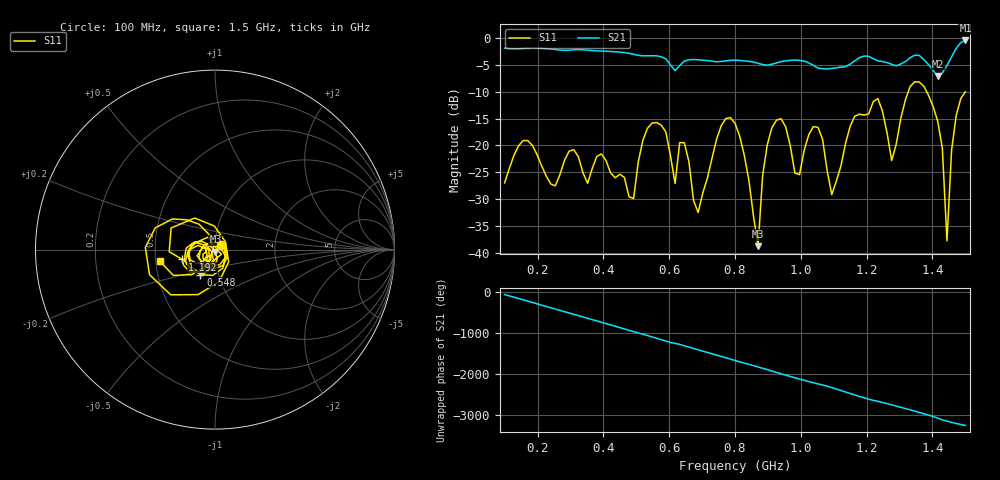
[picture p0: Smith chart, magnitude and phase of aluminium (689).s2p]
! NanoVNA-App
! Date: 2025-09-25 15:00:38
! Start: 100MHz Stop: 1,5GHz Points: 101
! S-Parameter data: F S11 S21 S12 S22
# Hz S RI R 50
!  Frequency  S11_Real  S11_Imag  S21_Real  S21_Imag  S12_Real  S12_Imag  S22_Real  S22_Imag
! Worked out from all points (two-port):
!   101 points, 100 MHz to 1.5 GHz, reference 50 ohm
!   highest |S21| = -0.49 dB at 1.5 GHz (marker M1); lowest = -7.1 dB at 1.416 GHz (marker M2)
!   |S21| within 3 dB of the highest: start of sweep to 572.9 MHz; 1.458 GHz to end of sweep (the widest 2 of 4)
!   lowest |S11| = -38.7 dB at 870 MHz (marker M3), VSWR 1.02, Z = 50.2 - j1.14 ohm
!   |S11| at or under -10 dB: start of sweep to 1.326 GHz; 1.382 GHz to end of sweep
!   S12 and S22 are empty: the file has one direction only
!   S11 on the Smith chart (normalised r, x): 100 MHz: 1.07, +0.06; 548 MHz: 0.82, -0.23; 1.192 GHz: 0.69, -0.08; 1.5 GHz: 0.52, -0.07
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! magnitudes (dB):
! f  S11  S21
! 100 MHz  -27.0  -1.9
! 156 MHz  -19.1  -2.0
! 338 MHz  -25.0  -2.2
! 492 MHz  -29.8  -3.1
! 548 MHz  -15.8  -3.3
! 576 MHz  -16.2  -3.5
! 646 MHz  -19.5  -4.3
! 688 MHz  -32.4  -4.1
! 800 MHz  -15.9  -4.2
! 870 MHz  -38.7  -4.7
! 912 MHz  -16.7  -4.9
! 996 MHz  -25.4  -4.2
! 1.038 GHz  -16.5  -5.1
! 1.094 GHz  -29.1  -5.7
! 1.192 GHz  -14.3  -3.4
! 1.234 GHz  -11.3  -4.3
! 1.276 GHz  -22.8  -4.9
! 1.346 GHz  -8.2  -3.2
! 1.416 GHz  -15.5  -7.1
! 1.444 GHz  -37.7  -5.2
! 1.458 GHz  -20.9  -3.5
! 1.5 GHz  -10.0  -0.5
